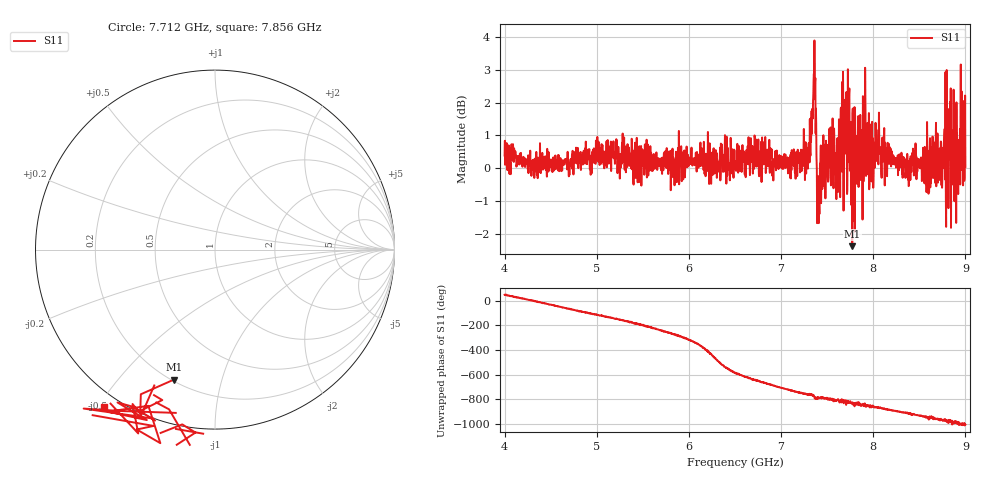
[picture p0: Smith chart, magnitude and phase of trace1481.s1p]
! Created with skrf 1.8.0 (http://scikit-rf.org).
# Hz S RI R 50.0
!freq ReS11 ImS11
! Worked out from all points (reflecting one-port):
!   1601 points, 4 GHz to 9 GHz, reference 50 ohm
!   lowest |S11| = -2.4 dB at 7.772 GHz (marker M1), VSWR 7.32, Z = 10.4 - j35.6 ohm
!   phase of S11 starts at 47 deg and turns -1055 deg over the sweep
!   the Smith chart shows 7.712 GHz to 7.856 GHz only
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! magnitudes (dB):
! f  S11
! 4 GHz  0.4
! 4.625 GHz  -0.1
! 5.25 GHz  -0.3
! 5.875 GHz  0.4
! 6.5 GHz  0.0
! 6.806 GHz  0.2
! 7.125 GHz  0.2
! 7.294 GHz  0.2
! 7.356 GHz  2.9
! 7.4 GHz  -0.5
! 7.412 GHz  -1.1
! 7.447 GHz  -0.6
! 7.512 GHz  -0.4
! 7.616 GHz  -0.7
! 7.65 GHz  1.8
! 7.688 GHz  2.1
! 7.731 GHz  0.2
! 7.75 GHz  0.2
! 7.772 GHz  -2.4
! 7.928 GHz  0.9
! 7.981 GHz  -0.4
! 8.05 GHz  0.8
! 8.375 GHz  -0.3
! 8.725 GHz  0.0
! 8.816 GHz  -1.2
! 8.919 GHz  -0.5
! 8.972 GHz  0.5
! 9 GHz  0.0
